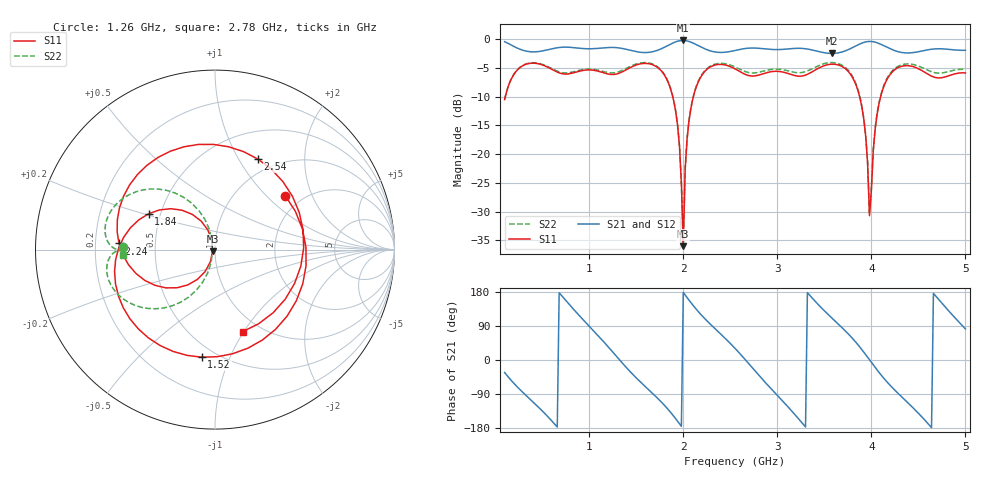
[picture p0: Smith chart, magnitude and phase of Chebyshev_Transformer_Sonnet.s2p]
! Sonnet Data File
! From: em Version : 18.53-Lite
! From Project: Transformer
! Data is De-embedded
! Data File Written: 06/29/2025 10:10:49
!< HDATE 06/29/2025 10:08:25
!< MDATE 06/29/2025 10:08:25
!< PARAMS
!< L1 = 44.38
!< L2 = 43.33
!< L3 = 42.439520085625
!< W1 = 1.57
!< W2 = 2.7
!< W3 = 4.4
!< END PARAMS
# GHZ S MA R 50.00000
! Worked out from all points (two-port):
!   246 points, 100 MHz to 5 GHz, reference 50 ohm
!   highest |S21| = -0.22 dB at 2 GHz (marker M1); lowest = -2.5 dB at 3.58 GHz (marker M2)
!   |S21| within 3 dB of the highest: start of sweep to end of sweep
!   lowest |S11| = -36.0 dB at 2 GHz (marker M3), VSWR 1.03, Z = 48.7 - j0.855 ohm
!   |S11| at or under -10 dB: start of sweep to 107.7 MHz; 1.888 GHz to 2.107 GHz (219.9 MHz wide, 11 % of centre); 3.875 GHz to 4.099 GHz (223.6 MHz wide, 5.61 % of centre)
!   |S22| runs from -35.7 to -4.1 dB; largest |S21 - S12| = 4.3e-12
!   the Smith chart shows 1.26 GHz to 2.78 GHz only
!   S11 on the Smith chart (normalised r, x): 1.26 GHz: 1.64, +1.31; 1.52 GHz: 0.42, -0.79; 1.84 GHz: 0.43, +0.21; 2.24 GHz: 0.30, +0.03; 2.54 GHz: 0.83, +1.21; 2.78 GHz: 0.83, -0.99
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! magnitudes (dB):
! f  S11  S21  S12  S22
! 100 MHz  -10.5  -0.4  -0.4  -10.5
! 920 MHz  -5.5  -1.6  -1.6  -5.3
! 1.26 GHz  -6.1  -1.4  -1.4  -5.8
! 1.52 GHz  -4.4  -2.2  -2.2  -4.2
! 1.74 GHz  -5.1  -1.8  -1.8  -5.0
! 1.84 GHz  -7.5  -1.1  -1.1  -7.4
! 1.94 GHz  -15.1  -0.3  -0.3  -15.0
! 2 GHz  -36.0  -0.2  -0.2  -35.7
! 2.02 GHz  -22.7  -0.2  -0.2  -22.6
! 2.06 GHz  -14.3  -0.4  -0.4  -14.2
! 2.24 GHz  -5.4  -1.7  -1.7  -5.3
! 2.54 GHz  -5.1  -2.0  -2.0  -4.7
! 2.56 GHz  -5.2  -1.9  -1.9  -4.9
! 2.78 GHz  -6.3  -1.6  -1.6  -5.8
! 3.38 GHz  -5.6  -1.9  -1.9  -5.0
! 3.58 GHz  -4.3  -2.5  -2.5  -4.1
! 3.88 GHz  -10.3  -0.8  -0.8  -10.1
! 3.94 GHz  -16.9  -0.5  -0.5  -16.7
! 3.98 GHz  -30.7  -0.4  -0.4  -30.2
! 4.06 GHz  -13.2  -0.6  -0.6  -13.0
! 4.2 GHz  -6.1  -1.7  -1.7  -5.9
! 5 GHz  -5.9  -1.9  -1.9  -5.2
